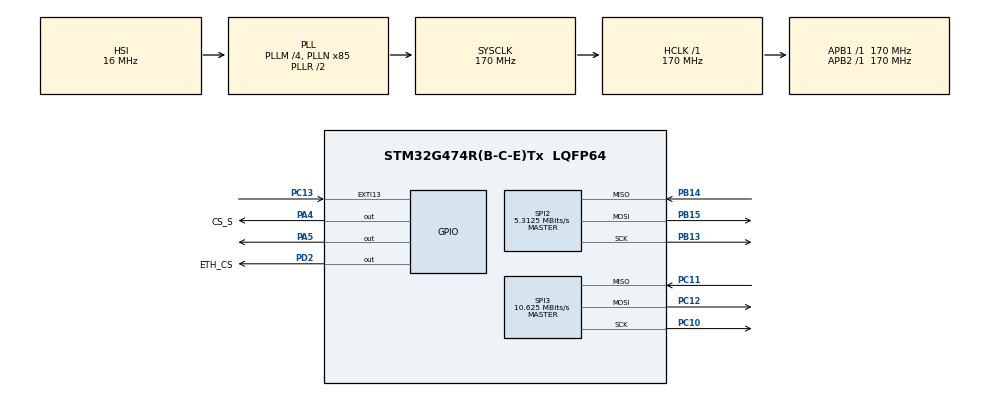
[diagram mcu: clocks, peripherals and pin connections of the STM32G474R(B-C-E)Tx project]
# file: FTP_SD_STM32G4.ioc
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FATFS._MAX_SS=4096
FATFS._USE_LFN=1
Mcu.Family=STM32G4
Mcu.Name=STM32G474R(B-C-E)Tx
Mcu.Package=LQFP64
NUCLEO-G474RE.BUTTON=1
NUCLEO-G474RE.LD2=true
NUCLEO-G474RE.VCP=true
NVIC.EXTI15_10_IRQn=true\:0\:0\:false\:false\:true\:true\:true\:true
NVIC.PriorityGroup=NVIC_PRIORITYGROUP_4
PA13.GPIO_Label=T_SWDIO
PA13.Signal=SYS_JTMS-SWDIO
PA14.GPIO_Label=T_SWCLK
PA14.Signal=SYS_JTCK-SWCLK
PA2.Signal=LPUART1_TX
PA3.Signal=LPUART1_RX
PA4.GPIO_Label=CS_S
PA4.GPIO_ModeDefaultOutputPP=GPIO_MODE_OUTPUT_PP
PA4.GPIO_Speed=GPIO_SPEED_FREQ_MEDIUM
PA4.PinState=GPIO_PIN_SET
PA4.Signal=GPIO_Output
PA5.Signal=GPIO_Output
PB13.Mode=Full_Duplex_Master
PB13.Signal=SPI2_SCK
PB14.Mode=Full_Duplex_Master
PB14.Signal=SPI2_MISO
PB15.Mode=Full_Duplex_Master
PB15.Signal=SPI2_MOSI
PB3.GPIO_Label=T_SWO
PB3.Signal=SYS_JTDO-SWO
PC10.Mode=Full_Duplex_Master
PC10.Signal=SPI3_SCK
PC11.Mode=Full_Duplex_Master
PC11.Signal=SPI3_MISO
PC12.Mode=Full_Duplex_Master
PC12.Signal=SPI3_MOSI
PC13.Signal=GPXTI13
PC14-OSC32_IN.GPIO_Label=RCC_OSC32_IN
PC14-OSC32_IN.Signal=RCC_OSC32_IN
PC15-OSC32_OUT.GPIO_Label=RCC_OSC32_OUT
PC15-OSC32_OUT.Signal=RCC_OSC32_OUT
PD2.GPIO_Label=ETH_CS
PD2.GPIO_ModeDefaultOutputPP=GPIO_MODE_OUTPUT_PP
PD2.GPIO_Speed=GPIO_SPEED_FREQ_MEDIUM
PD2.PinState=GPIO_PIN_SET
PD2.Signal=GPIO_Output
PF0-OSC_IN.GPIO_Label=RCC_OSC_IN
PF0-OSC_IN.Signal=RCC_OSC_IN
PF1-OSC_OUT.GPIO_Label=RCC_OSC_OUT
PF1-OSC_OUT.Signal=RCC_OSC_OUT
ProjectManager.HeapSize=0x200
ProjectManager.StackSize=0x400
ProjectManager.TargetToolchain=STM32CubeIDE
RCC.ADC12Freq_Value=170000000
RCC.ADC345Freq_Value=170000000
RCC.AHBFreq_Value=170000000
RCC.APB1Freq_Value=170000000
RCC.APB1TimFreq_Value=170000000
RCC.APB2Freq_Value=170000000
RCC.APB2TimFreq_Value=170000000
RCC.CortexFreq_Value=170000000
RCC.EXTERNAL_CLOCK_VALUE=12288000
RCC.HCLKFreq_Value=170000000
RCC.HSE_VALUE=24000000
RCC.HSI48_VALUE=48000000
RCC.HSI_VALUE=16000000
RCC.LSE_VALUE=32768
RCC.PLLM=RCC_PLLM_DIV4
RCC.PLLN=85
RCC.RTCClockSelection=RCC_RTCCLKSOURCE_LSE
RCC.SYSCLKFreq_VALUE=170000000
RCC.SYSCLKSource=RCC_SYSCLKSOURCE_PLLCLK
RCC.USBFreq_Value=170000000
RCC.VCOOutputFreq_Value=340000000
SPI2.BaudRatePrescaler=SPI_BAUDRATEPRESCALER_32
SPI2.CalculateBaudRate=5.3125 MBits/s
SPI2.DataSize=SPI_DATASIZE_8BIT
SPI2.Direction=SPI_DIRECTION_2LINES
SPI2.Mode=SPI_MODE_MASTER
SPI2.VirtualType=VM_MASTER
SPI3.BaudRatePrescaler=SPI_BAUDRATEPRESCALER_16
SPI3.CalculateBaudRate=10.625 MBits/s
SPI3.DataSize=SPI_DATASIZE_8BIT
SPI3.Direction=SPI_DIRECTION_2LINES
SPI3.Mode=SPI_MODE_MASTER
SPI3.VirtualType=VM_MASTER
VP_FATFS_VS_Generic.Mode=User_defined
VP_NUCLEO-G474RE_VS_BSP_COMMON.Mode=COMMON
VP_SYS_VS_DBSignals.Mode=DisableDeadBatterySignals
board=NUCLEO-G474RE

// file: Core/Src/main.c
/* USER CODE BEGIN Header */
/**
  ******************************************************************************
  * @file           : main.c
  * @brief          : Main program body
  ******************************************************************************
  * @attention
  *
  * Copyright (c) 2024 STMicroelectronics.
  * All rights reserved.
  *
  * This software is licensed under terms that can be found in the LICENSE file
  * in the root directory of this software component.
  * If no LICENSE file comes with this software, it is provided AS-IS.
  *
  *
  *
  *Se modifico el archivo w5500.h por problemas con las interrupciones del sistema utilizando FATFS
  *de: #define IR  a:  #define IR_5500
  *
  *
  *
  *
  ******************************************************************************
  */
/* USER CODE END Header */
#include "main.h"
#include "app_fatfs.h"

/* USER CODE BEGIN Includes */
#include "wizchip_conf.h"
#include "socket.h"
#include "ftpd.h"
/* USER CODE END Includes */

COM_InitTypeDef BspCOMInit;
SPI_HandleTypeDef hspi2;
SPI_HandleTypeDef hspi3;

/* USER CODE BEGIN PV */
FATFS fs;
FATFS *pfs;
FIL fil;
FRESULT fres;
DWORD fre_clust;
uint32_t totalSpace, freeSpace;
char buffer[100];

/*----------------------------PV Puerto Serie ----------------------------------------*/
//sprintf descarta el volatile cuando se pasa por argumento en la funcion
//Volatile hace referencia a que es una variable que se usara dentro de interrupciones
//Static se usa para variables locales dentro del archivo
static char tx_buff[100];
static volatile uint8_t buff_length;
/* USER CODE END PV */

void SystemClock_Config(void);
static void MX_GPIO_Init(void);
static void MX_SPI2_Init(void);
static void MX_SPI3_Init(void);
/* USER CODE BEGIN PFP */

//Ethernet Chip Select
void CS_SEL_FUN(void);
void CS_DES_FUN(void);

void configuracion_IP(void);
uint8_t SPI_Received(void);
void SPI_Transmit(uint8_t TX_Buff);
/* USER CODE END PFP */

int main(void)
{

  /* MCU Configuration--------------------------------------------------------*/

  /* Reset of all peripherals, Initializes the Flash interface and the Systick. */
  HAL_Init();

  /* Configure the system clock */
  SystemClock_Config();

  /* Initialize all configured peripherals */
  MX_GPIO_Init();
  MX_SPI2_Init();
  if (MX_FATFS_Init() != APP_OK) {
    Error_Handler();
  }
  MX_SPI3_Init();

  /* Initialize led */
  BSP_LED_Init(LED_GREEN);

  /* Initialize USER push-button, will be used to trigger an interrupt each time it's pressed.*/
  BSP_PB_Init(BUTTON_USER, BUTTON_MODE_EXTI);

  /* Initialize COM1 port (115200, 8 bits (7-bit data + 1 stop bit), no parity */
  BspCOMInit.BaudRate   = 115200;
  BspCOMInit.WordLength = COM_WORDLENGTH_8B;
  BspCOMInit.StopBits   = COM_STOPBITS_1;
  BspCOMInit.Parity     = COM_PARITY_NONE;
  BspCOMInit.HwFlowCtl  = COM_HWCONTROL_NONE;
  if (BSP_COM_Init(COM1, &BspCOMInit) != BSP_ERROR_NONE)
  {
    Error_Handler();
  }

  /* Infinite loop */
  /* USER CODE BEGIN WHILE */

	/* Wait for SD module reset */
	HAL_Delay(500);
	buff_length = sprintf(tx_buff, "Inicio de prueba\r\n");
	HAL_UART_Transmit(&hcom_uart[COM1],  (uint8_t *)tx_buff, buff_length, 100);

	/* Mount SD Card */
	if(f_mount(&fs, "", 0) != FR_OK)
		Error_Handler();

//	/* Open file to write */
//	if(f_open(&fil, "first.txt", FA_OPEN_ALWAYS | FA_READ | FA_WRITE) != FR_OK)
//		Error_Handler();
//
//	/* Check freeSpace space */
//	if(f_getfree("", &fre_clust, &pfs) != FR_OK)
//		Error_Handler();
//
//	totalSpace = (uint32_t)((pfs->n_fatent - 2) * pfs->csize * 0.5);
//	freeSpace = (uint32_t)(fre_clust * pfs->csize * 0.5);
//
//	/* free space is less than 1kb */
//	if(freeSpace < 1)
//		Error_Handler();
//
//	/* Writing text */
//	f_puts("STM32 SD Card I/O Example via SPI\r\n", &fil);
//	f_puts("Save the world!!!\r\n", &fil);
//
//	/* Close file */
//	if(f_close(&fil) != FR_OK)
//		Error_Handler();
//
//	/* Open file to read */
//	if(f_open(&fil, "first.txt", FA_READ) != FR_OK)
//		Error_Handler();
//
//	while(f_gets(buffer, sizeof(buffer), &fil))
//	{
//		/* SWV output */
//		printf("%s", buffer);
//		fflush(stdout);
//		buff_length = sprintf(tx_buff, "%s", buffer);
//		HAL_UART_Transmit(&hcom_uart[COM1],  (uint8_t *)tx_buff, buff_length, 100);
//	}
//
//	/* Close file */
//	if(f_close(&fil) != FR_OK)
//		Error_Handler();

	/* Unmount SDCARD */ //Para esta prueba se ocupa tener montada la unidad SD
//	if(f_mount(NULL, "", 1) != FR_OK)
//		Error_Handler();
	buff_length = sprintf(tx_buff, "FIN de prueba\r\n");
	HAL_UART_Transmit(&hcom_uart[COM1],  (uint8_t *)tx_buff, buff_length, 100);

//##############################################################################################################33
	configuracion_IP();

	uint8_t gFTPBUF[_MAX_SS];
	uint8_t ret;
	uint8_t IPAddress[4] = {192,168,10,10};
	ftpd_init(IPAddress);

  while (1)
  {
	/* Infinite loop */
	if((ret = ftpd_run(gFTPBUF)) < 0)
	{
		Error_Handler();
	}
	HAL_Delay(15);
    /* USER CODE END WHILE */

  }
}

void SystemClock_Config(void)
{
  RCC_OscInitTypeDef RCC_OscInitStruct = {0};
  RCC_ClkInitTypeDef RCC_ClkInitStruct = {0};

  /** Configure the main internal regulator output voltage
  */
  HAL_PWREx_ControlVoltageScaling(PWR_REGULATOR_VOLTAGE_SCALE1_BOOST);

  /** Initializes the RCC Oscillators according to the specified parameters
  * in the RCC_OscInitTypeDef structure.
  */
  RCC_OscInitStruct.OscillatorType = RCC_OSCILLATORTYPE_HSI;
  RCC_OscInitStruct.HSIState = RCC_HSI_ON;
  RCC_OscInitStruct.HSICalibrationValue = RCC_HSICALIBRATION_DEFAULT;
  RCC_OscInitStruct.PLL.PLLState = RCC_PLL_ON;
  RCC_OscInitStruct.PLL.PLLSource = RCC_PLLSOURCE_HSI;
  RCC_OscInitStruct.PLL.PLLM = RCC_PLLM_DIV4;
  RCC_OscInitStruct.PLL.PLLN = 85;
  RCC_OscInitStruct.PLL.PLLP = RCC_PLLP_DIV2;
  RCC_OscInitStruct.PLL.PLLQ = RCC_PLLQ_DIV2;
  RCC_OscInitStruct.PLL.PLLR = RCC_PLLR_DIV2;
  if (HAL_RCC_OscConfig(&RCC_OscInitStruct) != HAL_OK)
  {
    Error_Handler();
  }

  /** Initializes the CPU, AHB and APB buses clocks
  */
  RCC_ClkInitStruct.ClockType = RCC_CLOCKTYPE_HCLK|RCC_CLOCKTYPE_SYSCLK
                              |RCC_CLOCKTYPE_PCLK1|RCC_CLOCKTYPE_PCLK2;
  RCC_ClkInitStruct.SYSCLKSource = RCC_SYSCLKSOURCE_PLLCLK;
  RCC_ClkInitStruct.AHBCLKDivider = RCC_SYSCLK_DIV1;
  RCC_ClkInitStruct.APB1CLKDivider = RCC_HCLK_DIV1;
  RCC_ClkInitStruct.APB2CLKDivider = RCC_HCLK_DIV1;

  if (HAL_RCC_ClockConfig(&RCC_ClkInitStruct, FLASH_LATENCY_4) != HAL_OK)
  {
    Error_Handler();
  }
}

static void MX_SPI2_Init(void)
{

  /* SPI2 parameter configuration*/
  hspi2.Instance = SPI2;
  hspi2.Init.Mode = SPI_MODE_MASTER;
  hspi2.Init.Direction = SPI_DIRECTION_2LINES;
  hspi2.Init.DataSize = SPI_DATASIZE_8BIT;
  hspi2.Init.CLKPolarity = SPI_POLARITY_LOW;
  hspi2.Init.CLKPhase = SPI_PHASE_1EDGE;
  hspi2.Init.NSS = SPI_NSS_SOFT;
  hspi2.Init.BaudRatePrescaler = SPI_BAUDRATEPRESCALER_32;
  hspi2.Init.FirstBit = SPI_FIRSTBIT_MSB;
  hspi2.Init.TIMode = SPI_TIMODE_DISABLE;
  hspi2.Init.CRCCalculation = SPI_CRCCALCULATION_DISABLE;
  hspi2.Init.CRCPolynomial = 7;
  hspi2.Init.CRCLength = SPI_CRC_LENGTH_DATASIZE;
  hspi2.Init.NSSPMode = SPI_NSS_PULSE_ENABLE;
  if (HAL_SPI_Init(&hspi2) != HAL_OK)
  {
    Error_Handler();
  }

}

static void MX_SPI3_Init(void)
{

  /* SPI3 parameter configuration*/
  hspi3.Instance = SPI3;
  hspi3.Init.Mode = SPI_MODE_MASTER;
  hspi3.Init.Direction = SPI_DIRECTION_2LINES;
  hspi3.Init.DataSize = SPI_DATASIZE_8BIT;
  hspi3.Init.CLKPolarity = SPI_POLARITY_LOW;
  hspi3.Init.CLKPhase = SPI_PHASE_1EDGE;
  hspi3.Init.NSS = SPI_NSS_SOFT;
  hspi3.Init.BaudRatePrescaler = SPI_BAUDRATEPRESCALER_16;
  hspi3.Init.FirstBit = SPI_FIRSTBIT_MSB;
  hspi3.Init.TIMode = SPI_TIMODE_DISABLE;
  hspi3.Init.CRCCalculation = SPI_CRCCALCULATION_DISABLE;
  hspi3.Init.CRCPolynomial = 7;
  hspi3.Init.CRCLength = SPI_CRC_LENGTH_DATASIZE;
  hspi3.Init.NSSPMode = SPI_NSS_PULSE_ENABLE;
  if (HAL_SPI_Init(&hspi3) != HAL_OK)
  {
    Error_Handler();
  }

}

static void MX_GPIO_Init(void)
{
  GPIO_InitTypeDef GPIO_InitStruct = {0};

  /* GPIO Ports Clock Enable */
  __HAL_RCC_GPIOC_CLK_ENABLE();
  __HAL_RCC_GPIOF_CLK_ENABLE();
  __HAL_RCC_GPIOA_CLK_ENABLE();
  __HAL_RCC_GPIOB_CLK_ENABLE();
  __HAL_RCC_GPIOD_CLK_ENABLE();

  /*Configure GPIO pin Output Level */
  HAL_GPIO_WritePin(CS_S_GPIO_Port, CS_S_Pin, GPIO_PIN_SET);

  /*Configure GPIO pin Output Level */
  HAL_GPIO_WritePin(ETH_CS_GPIO_Port, ETH_CS_Pin, GPIO_PIN_SET);

  /*Configure GPIO pin : CS_S_Pin */
  GPIO_InitStruct.Pin = CS_S_Pin;
  GPIO_InitStruct.Mode = GPIO_MODE_OUTPUT_PP;
  GPIO_InitStruct.Pull = GPIO_NOPULL;
  GPIO_InitStruct.Speed = GPIO_SPEED_FREQ_MEDIUM;
  HAL_GPIO_Init(CS_S_GPIO_Port, &GPIO_InitStruct);

  /*Configure GPIO pin : ETH_CS_Pin */
  GPIO_InitStruct.Pin = ETH_CS_Pin;
  GPIO_InitStruct.Mode = GPIO_MODE_OUTPUT_PP;
  GPIO_InitStruct.Pull = GPIO_NOPULL;
  GPIO_InitStruct.Speed = GPIO_SPEED_FREQ_MEDIUM;
  HAL_GPIO_Init(ETH_CS_GPIO_Port, &GPIO_InitStruct);

}

/* USER CODE BEGIN 4 */
void CS_SEL_FUN(void)
{
// CS y GPIO de SPI3
	HAL_GPIO_WritePin(ETH_CS_GPIO_Port, ETH_CS_Pin, GPIO_PIN_RESET);
}

void CS_DES_FUN(void)
{
	HAL_GPIO_WritePin(ETH_CS_GPIO_Port, ETH_CS_Pin, GPIO_PIN_SET);
}

// Tener cuidado con el SPI que se esta usando
uint8_t SPI_Received(void)
{
	uint8_t RX_Buff;
	HAL_SPI_Receive(&hspi3, &RX_Buff, 1, 100);
	return RX_Buff;
}

void SPI_Transmit(uint8_t TX_Buff)
{
	HAL_SPI_Transmit(&hspi3, &TX_Buff, 1, 100);
}

void configuracion_IP(void)
{
	//char Archivo[25];
	//Obtenemos direccion IP
	int Address = 10;

	//bufsize se refiere al tamaño del buffer tx, rx por cada socket el w5500 tiene hasta 8 sockets. Los 32Kbytes se dividen por los 8 sockets
	printf("\r\nStart Eth Settings\r\n");
	uint8_t bufSize[] = {2, 2, 2, 2, 2, 2, 2, 2};

	//Funciones para mandar a seleccionar el chip:
	reg_wizchip_cs_cbfunc(CS_SEL_FUN, CS_DES_FUN);

	//Funciones para mandar a escribir y leer datos del SPI
	reg_wizchip_spi_cbfunc(SPI_Received, SPI_Transmit);

	//Init Buffer tx rx
	wizchip_init(bufSize, bufSize);
	wiz_NetInfo netInfo = { .mac 	= {0x00, 0x08, 0xdc, 0xab, 0xcd, 0xef},	// Mac address
	        	            .ip 	= {192, 168, 10, Address},					// IP address
	          	            .sn 	= {255, 255, 255, 0},					// Subnet mask
	          	            .gw 	= {192, 168, 10, 1}};					// Gateway address

	wizchip_setnetinfo(&netInfo);											//Se configura el chip con los datos ingresados anteriormente

	buff_length = sprintf(tx_buff, "FIN Config W5500 \r\n");
	HAL_UART_Transmit(&hcom_uart[COM1],  (uint8_t *)tx_buff, buff_length, 100);

}

/* USER CODE END 4 */

void Error_Handler(void)
{
  /* USER CODE BEGIN Error_Handler_Debug */
	buff_length = sprintf(tx_buff, "Error Prueba SD: \r\n");
	HAL_UART_Transmit(&hcom_uart[COM1],  (uint8_t *)tx_buff, buff_length, 100);
  /* User can add his own implementation to report the HAL error return state */
  __disable_irq();
  while (1)
  {
  }
  /* USER CODE END Error_Handler_Debug */
}
